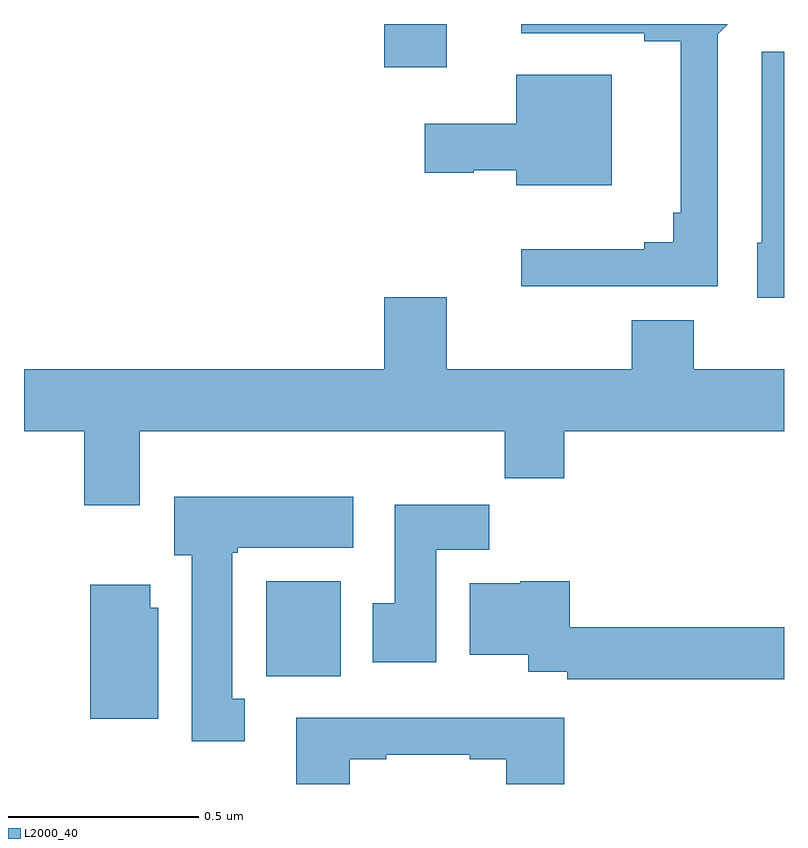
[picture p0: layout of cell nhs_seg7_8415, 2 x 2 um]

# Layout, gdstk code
import gdstk
lib = gdstk.Library(unit=1e-6, precision=1e-09)
def R(c, l, rs):  # rectangles x0, y0, x1, y1
    for r in rs: c.add(gdstk.rectangle(r[:2], r[2:], *l))
def P(c, l, *ps):  # polygons
    for p in ps: c.add(gdstk.Polygon(p, *l))
L2000_40 = (2000, 40)

nhs_seg7_8415 = lib.new_cell('nhs_seg7_8415')
R(nhs_seg7_8415, L2000_40, [(224.637,1021.284,224.833,1021.534), (224.948,1022.886,225.112,1023)])
P(nhs_seg7_8415, L2000_40, [(225.825,1022.973),(225.852,1023),(225.309,1023),(225.309,1022.976),(225.632,1022.976),(225.632,1022.954),(225.728,1022.954),(225.728,1022.503),(225.709,1022.503),(225.709,1022.426),(225.632,1022.426),(225.632,1022.407),(225.309,1022.407),(225.309,1022.31),(225.825,1022.31)],
  [(226,1022.927),(225.942,1022.927),(225.942,1022.424),(225.929,1022.424),(225.929,1022.28),(226,1022.28)],
  [(225.547,1022.866),(225.296,1022.866),(225.296,1022.737),(225.054,1022.737),(225.054,1022.608),(225.183,1022.608),(225.183,1022.615),(225.296,1022.615),(225.296,1022.576),(225.547,1022.576)],
  [(224.305,1021.928),(225.265,1021.928),(225.265,1021.804),(225.422,1021.804),(225.422,1021.928),(226,1021.928),(226,1022.092),(225.763,1022.092),(225.763,1022.221),(225.599,1022.221),(225.599,1022.092),(225.112,1022.092),(225.112,1022.281),(224.948,1022.281),(224.948,1022.092),(224,1022.092),(224,1021.928),(224.158,1021.928),(224.158,1021.734),(224.305,1021.734)],
  [(224.581,1021.225),(224.548,1021.225),(224.548,1021.609),(224.562,1021.609),(224.562,1021.622),(224.866,1021.622),(224.866,1021.756),(224.396,1021.756),(224.396,1021.602),(224.441,1021.602),(224.441,1021.113),(224.581,1021.113)],
  [(225.085,1021.616),(225.224,1021.616),(225.224,1021.735),(224.975,1021.735),(224.975,1021.476),(224.918,1021.476),(224.918,1021.32),(225.085,1021.32)],
  [(226,1021.412),(225.436,1021.412),(225.436,1021.534),(225.306,1021.534),(225.306,1021.528),(225.173,1021.528),(225.173,1021.34),(225.327,1021.34),(225.327,1021.296),(225.43,1021.296),(225.43,1021.276),(226,1021.276)],
  [(224.353,1021.464),(224.332,1021.464),(224.332,1021.525),(224.174,1021.525),(224.174,1021.172),(224.353,1021.172)],
  [(224.857,1021.065),(224.953,1021.065),(224.953,1021.077),(225.173,1021.077),(225.173,1021.065),(225.269,1021.065),(225.269,1021),(225.422,1021),(225.422,1021.174),(224.717,1021.174),(224.717,1021),(224.857,1021)])

lib.write_gds('nhs_seg7_8415.gds')
